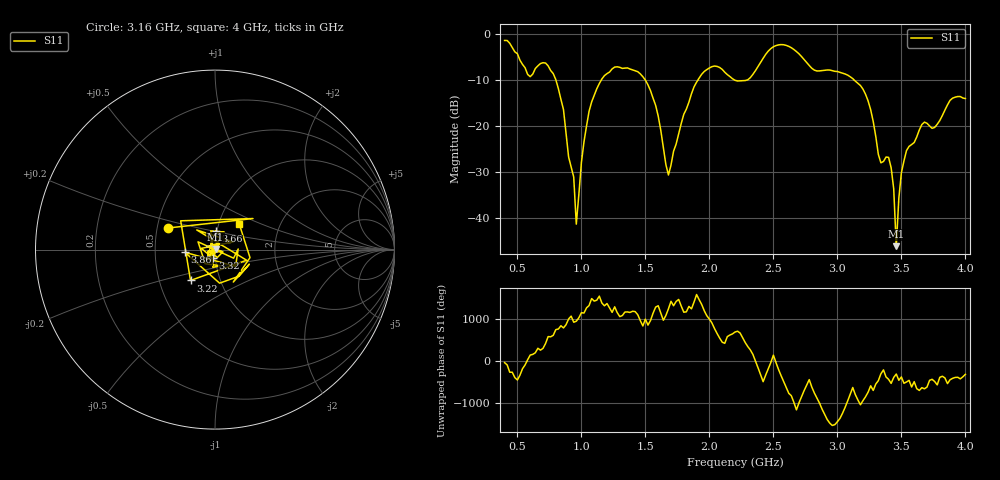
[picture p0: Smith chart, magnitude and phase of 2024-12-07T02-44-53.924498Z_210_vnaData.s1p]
!Created with skrf (http://scikit-rf.org).
# Hz S RI R 50.0
!freq ReS11 ImS11
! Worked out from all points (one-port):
!   181 points, 400 MHz to 4 GHz, reference 50 ohm
!   lowest |S11| = -46.1 dB at 3.46 GHz (marker M1), VSWR 1.01, Z = 50.3 + j0.408 ohm
!   |S11| at or under -10 dB: 800.1 MHz to 1.157 GHz (356.8 MHz wide, 36.5 % of centre); 1.497 GHz to 1.912 GHz (414.4 MHz wide, 24.3 % of centre); 3.128 GHz to end of sweep (the widest 3 of 4)
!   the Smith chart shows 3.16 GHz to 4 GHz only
!   S11 on the Smith chart (normalised r, x): 3.16 GHz: 0.57, +0.15; 3.22 GHz: 0.72, -0.26; 3.32 GHz: 0.97, -0.09; 3.66 GHz: 0.98, +0.21; 3.86 GHz: 0.71, -0.02; 4 GHz: 1.25, +0.38
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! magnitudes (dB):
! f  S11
! 400 MHz  -1.5
! 600 MHz  -9.3
! 740 MHz  -7.0
! 860 MHz  -16.5
! 940 MHz  -31.1
! 960 MHz  -41.3
! 1.02 GHz  -23.5
! 1.08 GHz  -14.8
! 1.3 GHz  -7.3
! 1.52 GHz  -11.1
! 1.6 GHz  -17.9
! 1.68 GHz  -30.7
! 1.76 GHz  -21.7
! 1.96 GHz  -8.2
! 2.2 GHz  -10.1
! 2.66 GHz  -3.5
! 3.1 GHz  -9.4
! 3.16 GHz  -10.8
! 3.22 GHz  -13.2
! 3.32 GHz  -26.2
! 3.42 GHz  -29.1
! 3.44 GHz  -33.7
! 3.46 GHz  -46.1
! 3.5 GHz  -30.2
! 3.56 GHz  -24.5
! 3.66 GHz  -19.7
! 3.86 GHz  -15.5
! 4 GHz  -14.1
